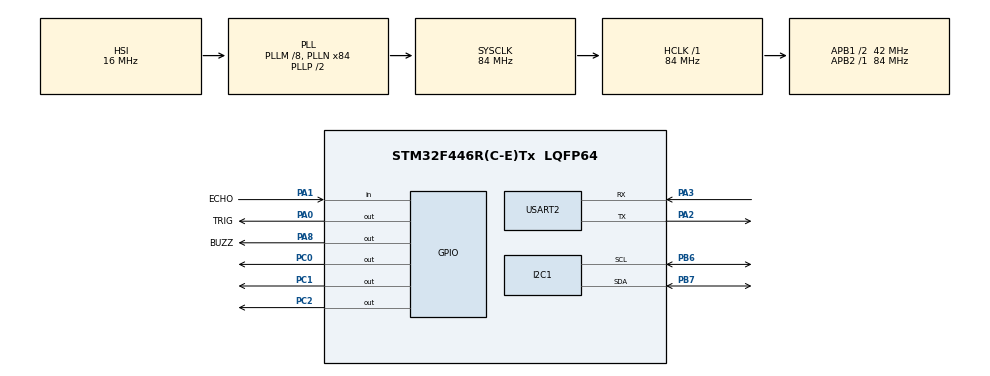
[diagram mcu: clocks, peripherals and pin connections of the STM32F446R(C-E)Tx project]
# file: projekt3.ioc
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Mcu.Family=STM32F4
Mcu.Name=STM32F446R(C-E)Tx
Mcu.Package=LQFP64
NVIC.PriorityGroup=NVIC_PRIORITYGROUP_4
PA0-WKUP.GPIO_Label=TRIG
PA0-WKUP.Signal=GPIO_Output
PA1.GPIO_Label=ECHO
PA1.Signal=GPIO_Input
PA13.Mode=Serial_Wire
PA13.Signal=SYS_JTMS-SWDIO
PA14.Mode=Serial_Wire
PA14.Signal=SYS_JTCK-SWCLK
PA2.Mode=Asynchronous
PA2.Signal=USART2_TX
PA3.Mode=Asynchronous
PA3.Signal=USART2_RX
PA8.GPIO_Label=BUZZ
PA8.Signal=GPIO_Output
PB6.GPIO_Pu=GPIO_PULLUP
PB6.Mode=I2C
PB6.Signal=I2C1_SCL
PB7.GPIO_Pu=GPIO_PULLUP
PB7.Mode=I2C
PB7.Signal=I2C1_SDA
PC0.Signal=GPIO_Output
PC1.Signal=GPIO_Output
PC2.Signal=GPIO_Output
ProjectManager.HeapSize=0x200
ProjectManager.StackSize=0x400
ProjectManager.TargetToolchain=STM32CubeIDE
RCC.AHBFreq_Value=84000000
RCC.APB1CLKDivider=RCC_HCLK_DIV2
RCC.APB1Freq_Value=42000000
RCC.APB1TimFreq_Value=84000000
RCC.APB2Freq_Value=84000000
RCC.APB2TimFreq_Value=84000000
RCC.CortexFreq_Value=84000000
RCC.HCLKFreq_Value=84000000
RCC.PLLM=8
RCC.PLLN=84
RCC.SYSCLKFreq_VALUE=84000000
RCC.SYSCLKSource=RCC_SYSCLKSOURCE_PLLCLK
RCC.USBFreq_Value=84000000
RCC.VCOOutputFreq_Value=168000000
TIM2.Period=65535
TIM2.Prescaler=83
USART2.VirtualMode=VM_ASYNC
VP_TIM2_VS_ClockSourceINT.Mode=Internal
board=custom

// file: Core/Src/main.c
/* USER CODE BEGIN Header */
/**
  ******************************************************************************
  * @file           : main.c
  * @brief          : Main program body
  ******************************************************************************
  * @attention
  *
  * Copyright (c) 2024 STMicroelectronics.
  * All rights reserved.
  *
  * This software is licensed under terms that can be found in the LICENSE file
  * in the root directory of this software component.
  * If no LICENSE file comes with this software, it is provided AS-IS.
  *
  ******************************************************************************
  */
/* USER CODE END Header */
#include "main.h"
#include "i2c.h"
#include "tim.h"
#include "usart.h"
#include "gpio.h"

/* USER CODE BEGIN Includes */
#include "lcd16x2_i2c.h"
/* USER CODE END Includes */

/* USER CODE BEGIN PTD */
#define usTIM TIM2
/* USER CODE END PTD */

void SystemClock_Config(void);
/* USER CODE BEGIN PFP */
void usDelay(uint32_t uSec);
/* USER CODE END PFP */

/* USER CODE BEGIN 0 */
float distance;

/* USER CODE END 0 */

int main(void)
{
  /* USER CODE BEGIN 1 */
	uint32_t duration;

	void HCSR04_Trigger(void) {
	    HAL_GPIO_WritePin(TRIG_GPIO_Port, TRIG_Pin, GPIO_PIN_SET);  // Set TRIG High
	    HAL_Delay(0.01); // Delay for 10 microseconds (10us)
	    HAL_GPIO_WritePin(TRIG_GPIO_Port, TRIG_Pin, GPIO_PIN_RESET); // Set TRIG Low
	}
  /* USER CODE END 1 */

  /* MCU Configuration--------------------------------------------------------*/

  /* Reset of all peripherals, Initializes the Flash interface and the Systick. */
  HAL_Init();

  /* Configure the system clock */
  SystemClock_Config();

  /* Initialize all configured peripherals */
  MX_GPIO_Init();
  MX_I2C1_Init();
  MX_TIM2_Init();
  MX_USART2_UART_Init();
  /* USER CODE BEGIN 2 */
  if(lcd16x2_i2c_init(&hi2c1))
  {
	HAL_GPIO_WritePin(GPIOH, GPIO_PIN_8, GPIO_PIN_SET);
  }

  void HCSR04_ReadDistance(void) {
      // Wait for ECHO pin to go high
      while (HAL_GPIO_ReadPin(ECHO_GPIO_Port, ECHO_Pin) == GPIO_PIN_RESET);

      // Start the timer
      __HAL_TIM_SET_COUNTER(&htim2, 0);
      HAL_TIM_Base_Start(&htim2);

      // Wait for ECHO pin to go low
      while (HAL_GPIO_ReadPin(ECHO_GPIO_Port, ECHO_Pin) == GPIO_PIN_SET);

      // Stop the timer
      HAL_TIM_Base_Stop(&htim2);

      // Read the duration
      duration = __HAL_TIM_GET_COUNTER(&htim2);

      // Calculate the distance in centimeters
      distance = (duration/2) * 0.0343;
  }

  /* USER CODE END 2 */

  /* Infinite loop */
  while (1)
  {

    /* USER CODE BEGIN 3 */
      HCSR04_Trigger();
      HCSR04_ReadDistance();

      HAL_Delay(250);

		lcd16x2_i2c_clear();
		lcd16x2_i2c_setCursor(0, 0);
		lcd16x2_i2c_printf("Dist: %.1f cm", distance);

	    // LED and Buzz control based on distance
	    if (distance > 10.0f) {
	        HAL_GPIO_WritePin(GPIOC, GPIO_PIN_0, GPIO_PIN_SET);
	        HAL_GPIO_WritePin(GPIOC, GPIO_PIN_1, GPIO_PIN_RESET);
	        HAL_GPIO_WritePin(GPIOC, GPIO_PIN_2, GPIO_PIN_RESET);
	        HAL_GPIO_WritePin(GPIOA, GPIO_PIN_8, GPIO_PIN_RESET);
	    } else if (distance > 5.0f && distance < 10.0f) {
	        HAL_GPIO_WritePin(GPIOC, GPIO_PIN_0, GPIO_PIN_RESET);
	        HAL_GPIO_WritePin(GPIOC, GPIO_PIN_1, GPIO_PIN_SET);
	        HAL_GPIO_WritePin(GPIOC, GPIO_PIN_2, GPIO_PIN_RESET);
	        HAL_GPIO_WritePin(GPIOA, GPIO_PIN_8, GPIO_PIN_RESET);
	    } else {
	        HAL_GPIO_WritePin(GPIOC, GPIO_PIN_0, GPIO_PIN_RESET);
	        HAL_GPIO_WritePin(GPIOC, GPIO_PIN_1, GPIO_PIN_RESET);
	        HAL_GPIO_WritePin(GPIOC, GPIO_PIN_2, GPIO_PIN_SET);
	        HAL_GPIO_TogglePin(GPIOA, GPIO_PIN_8);
	    }

		HAL_Delay(250);
  }
  /* USER CODE END 3 */
}

void SystemClock_Config(void)
{
  RCC_OscInitTypeDef RCC_OscInitStruct = {0};
  RCC_ClkInitTypeDef RCC_ClkInitStruct = {0};

  /** Configure the main internal regulator output voltage
  */
  __HAL_RCC_PWR_CLK_ENABLE();
  __HAL_PWR_VOLTAGESCALING_CONFIG(PWR_REGULATOR_VOLTAGE_SCALE3);

  /** Initializes the RCC Oscillators according to the specified parameters
  * in the RCC_OscInitTypeDef structure.
  */
  RCC_OscInitStruct.OscillatorType = RCC_OSCILLATORTYPE_HSI;
  RCC_OscInitStruct.HSIState = RCC_HSI_ON;
  RCC_OscInitStruct.HSICalibrationValue = RCC_HSICALIBRATION_DEFAULT;
  RCC_OscInitStruct.PLL.PLLState = RCC_PLL_ON;
  RCC_OscInitStruct.PLL.PLLSource = RCC_PLLSOURCE_HSI;
  RCC_OscInitStruct.PLL.PLLM = 8;
  RCC_OscInitStruct.PLL.PLLN = 84;
  RCC_OscInitStruct.PLL.PLLP = RCC_PLLP_DIV2;
  RCC_OscInitStruct.PLL.PLLQ = 2;
  RCC_OscInitStruct.PLL.PLLR = 2;
  if (HAL_RCC_OscConfig(&RCC_OscInitStruct) != HAL_OK)
  {
    Error_Handler();
  }

  /** Initializes the CPU, AHB and APB buses clocks
  */
  RCC_ClkInitStruct.ClockType = RCC_CLOCKTYPE_HCLK|RCC_CLOCKTYPE_SYSCLK
                              |RCC_CLOCKTYPE_PCLK1|RCC_CLOCKTYPE_PCLK2;
  RCC_ClkInitStruct.SYSCLKSource = RCC_SYSCLKSOURCE_PLLCLK;
  RCC_ClkInitStruct.AHBCLKDivider = RCC_SYSCLK_DIV1;
  RCC_ClkInitStruct.APB1CLKDivider = RCC_HCLK_DIV2;
  RCC_ClkInitStruct.APB2CLKDivider = RCC_HCLK_DIV1;

  if (HAL_RCC_ClockConfig(&RCC_ClkInitStruct, FLASH_LATENCY_2) != HAL_OK)
  {
    Error_Handler();
  }
}

void Error_Handler(void)
{
  __disable_irq();
  while (1)
  {
  }
}
